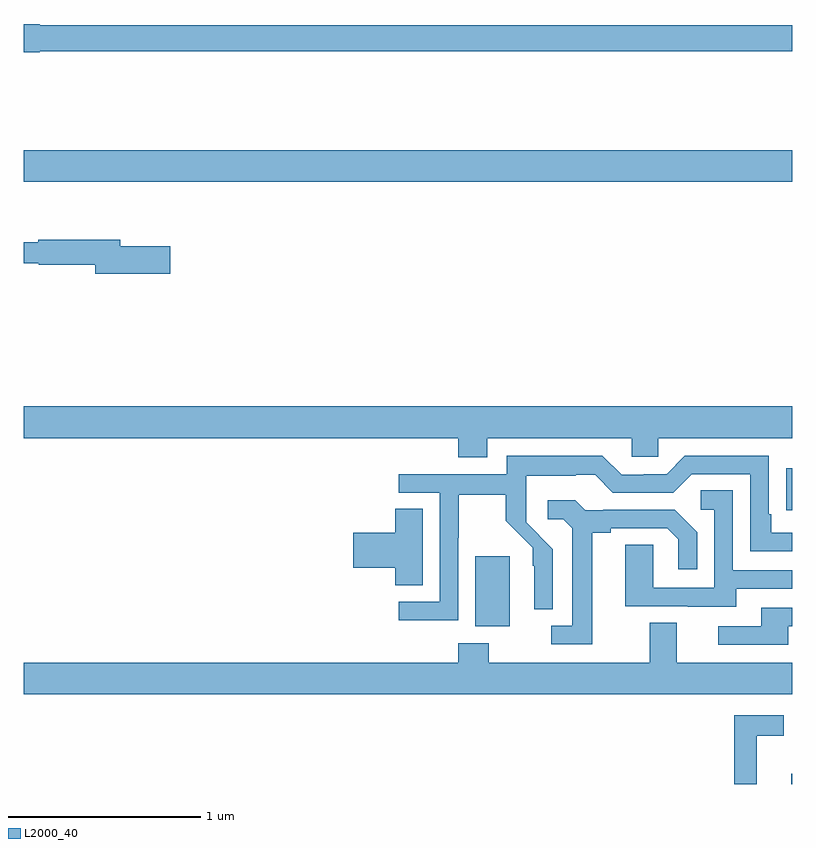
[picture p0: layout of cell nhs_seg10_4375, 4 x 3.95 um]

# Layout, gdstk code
import gdstk
lib = gdstk.Library(unit=1e-6, precision=1e-09)
def R(c, l, rs):  # rectangles x0, y0, x1, y1
    for r in rs: c.add(gdstk.rectangle(r[:2], r[2:], *l))
def P(c, l, *ps):  # polygons
    for p in ps: c.add(gdstk.Polygon(p, *l))
L2000_40 = (2000, 40)

nhs_seg10_4375 = lib.new_cell('nhs_seg10_4375')
R(nhs_seg10_4375, L2000_40, [(360.993,1314.5,361,1314.553), (359.351,1315.322,359.53,1315.684), (360.967,1315.924,361,1316.143), (357,1317.632,361,1317.796)])
P(nhs_seg10_4375, L2000_40, [(357.084,1318.312),(361,1318.312),(361,1318.448),(357.084,1318.448),(357.084,1318.454),(357,1318.454),(357,1318.307),(357.084,1318.307)],
  [(357.763,1317.297),(357.502,1317.297),(357.502,1317.331),(357.076,1317.331),(357.076,1317.318),(357,1317.318),(357,1317.21),(357.078,1317.21),(357.078,1317.202),(357.374,1317.202),(357.374,1317.155),(357.763,1317.155)],
  [(359.413,1316.3),(360.165,1316.3),(360.165,1316.202),(360.303,1316.202),(360.303,1316.3),(361,1316.3),(361,1316.464),(357,1316.464),(357,1316.3),(359.261,1316.3),(359.261,1316.201),(359.413,1316.201)],
  [(359.262,1315.78),(359.265,1315.78),(359.265,1316.004),(359.509,1316.004),(359.509,1315.87),(359.649,1315.73),(359.649,1315.635),(359.658,1315.635),(359.658,1315.408),(359.754,1315.408),(359.754,1315.722),(359.616,1315.861),(359.616,1316.105),(359.873,1316.105),(359.873,1316.109),(359.973,1316.109),(360.066,1316.016),(360.381,1316.016),(360.477,1316.112),(360.78,1316.112),(360.78,1315.71),(361,1315.71),(361,1315.806),(360.889,1315.806),(360.889,1315.903),(360.876,1315.903),(360.876,1316.208),(360.441,1316.208),(360.345,1316.112),(360.227,1316.112),(360.227,1316.109),(360.111,1316.109),(360.011,1316.209),(359.514,1316.209),(359.514,1316.112),(358.953,1316.112),(358.953,1316.016),(359.166,1316.016),(359.166,1315.449),(358.953,1315.449),(358.953,1315.351),(359.262,1315.351)],
  [(360.709,1315.515),(361,1315.515),(361,1315.611),(360.69,1315.611),(360.69,1316.027),(360.522,1316.027),(360.522,1315.926),(360.594,1315.926),(360.594,1315.521),(360.276,1315.521),(360.276,1315.745),(360.131,1315.745),(360.131,1315.425),(360.455,1315.425),(360.455,1315.421),(360.709,1315.421)],
  [(359.959,1315.808),(360.055,1315.808),(360.055,1315.83),(360.35,1315.83),(360.407,1315.773),(360.407,1315.617),(360.504,1315.617),(360.504,1315.81),(360.388,1315.926),(360.016,1315.926),(360.016,1315.923),(359.922,1315.923),(359.87,1315.975),(359.727,1315.975),(359.727,1315.878),(359.808,1315.878),(359.855,1315.831),(359.855,1315.323),(359.745,1315.323),(359.745,1315.227),(359.959,1315.227)],
  [(359.077,1315.931),(358.934,1315.931),(358.934,1315.808),(358.716,1315.808),(358.716,1315.625),(358.934,1315.625),(358.934,1315.534),(359.077,1315.534)],
  [(360.979,1315.32),(361,1315.32),(361,1315.416),(360.839,1315.416),(360.839,1315.32),(360.615,1315.32),(360.615,1315.224),(360.979,1315.224)],
  [(361,1315.132),(360.397,1315.132),(360.397,1315.34),(360.257,1315.34),(360.257,1315.132),(359.421,1315.132),(359.421,1315.231),(359.261,1315.231),(359.261,1315.132),(357,1315.132),(357,1314.968),(361,1314.968)],
  [(360.815,1314.75),(360.955,1314.75),(360.955,1314.858),(360.697,1314.858),(360.697,1314.5),(360.815,1314.5)])

lib.write_gds('nhs_seg10_4375.gds')
